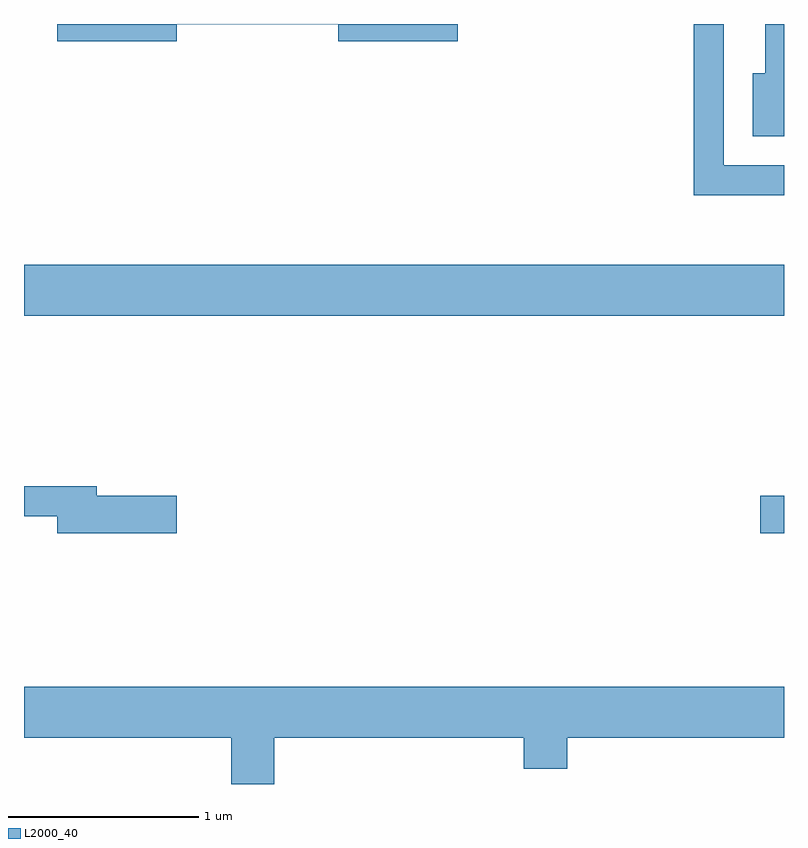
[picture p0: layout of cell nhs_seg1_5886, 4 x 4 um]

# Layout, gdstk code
import gdstk
lib = gdstk.Library(unit=1e-6, precision=1e-09)
def R(c, l, rs):  # rectangles x0, y0, x1, y1
    for r in rs: c.add(gdstk.rectangle(r[:2], r[2:], *l))
def P(c, l, *ps):  # polygons
    for p in ps: c.add(gdstk.Polygon(p, *l))
L2000_40 = (2000, 40)

nhs_seg1_5886 = lib.new_cell('nhs_seg1_5886')
R(nhs_seg1_5886, L2000_40, [(365.486,965.031,365.611,965.229), (361.611,966.176,365.611,966.444)])
P(nhs_seg1_5886, L2000_40, [(365.611,966.969),(365.294,966.969),(365.294,967.712),(365.136,967.712),(365.136,966.811),(365.611,966.811)],
  [(365.611,967.712),(365.511,967.712),(365.511,967.454),(365.446,967.454),(365.446,967.121),(365.611,967.121)],
  [(362.414,967.711),(363.266,967.711),(363.266,967.621),(363.894,967.621),(363.894,967.712),(361.786,967.712),(361.786,967.621),(362.414,967.621)],
  [(362.414,965.229),(361.994,965.229),(361.994,965.279),(361.611,965.279),(361.611,965.121),(361.786,965.121),(361.786,965.031),(362.414,965.031)],
  [(362.929,963.956),(364.241,963.956),(364.241,963.791),(364.469,963.791),(364.469,963.956),(365.611,963.956),(365.611,964.224),(361.611,964.224),(361.611,963.956),(362.701,963.956),(362.701,963.712),(362.929,963.712)])

lib.write_gds('nhs_seg1_5886.gds')
